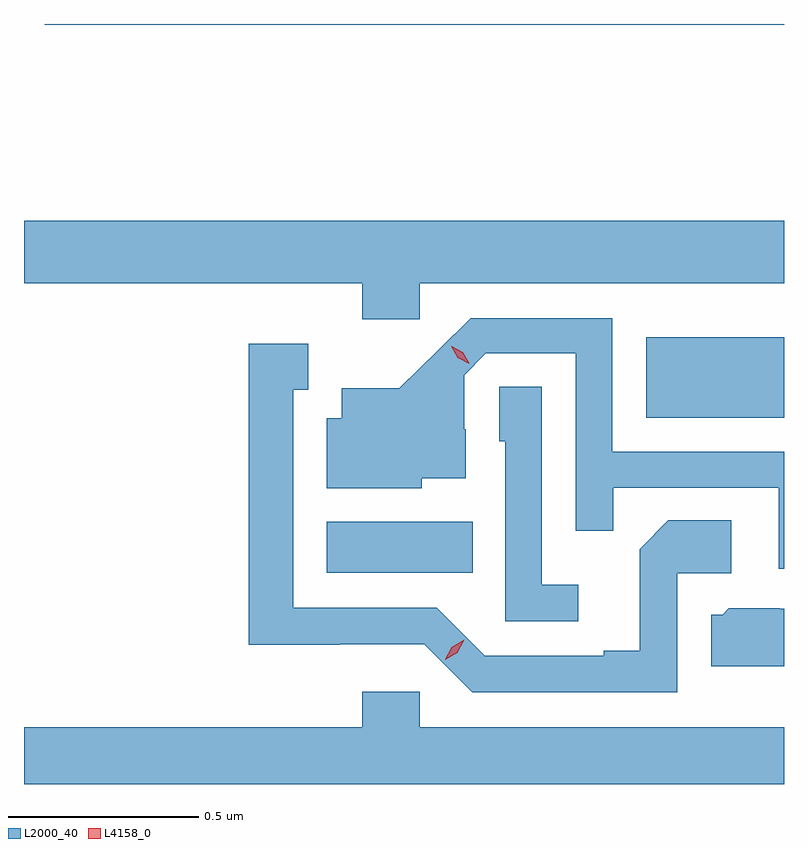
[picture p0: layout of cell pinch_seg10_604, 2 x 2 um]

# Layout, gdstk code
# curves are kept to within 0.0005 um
import gdstk
lib = gdstk.Library(unit=1e-6, precision=1e-09)
def R(c, l, rs):  # rectangles x0, y0, x1, y1
    for r in rs: c.add(gdstk.rectangle(r[:2], r[2:], *l))
def P(c, l, *ps):  # polygons
    for p in ps: c.add(gdstk.Polygon(p, *l))
L2000_40 = (2000, 40)
L4158_0 = (4158, 0)

pinch_seg10_604 = lib.new_cell('pinch_seg10_604')
R(pinch_seg10_604, L2000_40, [(333.842,1286.234,334.226,1286.368), (334.682,1286.642,335.045,1286.854), (333.1,1287.676,335.045,1287.678)])
P(pinch_seg10_604, L2000_40, [(334.086,1286.996),(335.045,1286.996),(335.045,1287.16),(333.045,1287.16),(333.045,1286.996),(333.935,1286.996),(333.935,1286.901),(334.086,1286.901)],
  [(335.045,1286.553),(334.593,1286.553),(334.593,1286.904),(334.22,1286.904),(334.033,1286.719),(333.881,1286.719),(333.881,1286.641),(333.842,1286.641),(333.842,1286.456),(334.092,1286.456),(334.092,1286.483),(334.207,1286.483),(334.207,1286.612),(334.203,1286.612),(334.203,1286.754),(334.26,1286.811),(334.497,1286.811),(334.497,1286.344),(334.595,1286.344),(334.595,1286.457),(335.031,1286.457),(335.031,1286.244),(335.045,1286.244)],
  [(334.764,1286.232),(334.906,1286.232),(334.906,1286.372),(334.741,1286.372),(334.665,1286.296),(334.665,1286.029),(334.571,1286.029),(334.571,1286.016),(334.257,1286.016),(334.131,1286.142),(333.754,1286.142),(333.754,1286.715),(333.793,1286.715),(333.793,1286.836),(333.636,1286.836),(333.636,1286.045),(333.876,1286.045),(333.876,1286.046),(334.098,1286.046),(334.224,1285.92),(334.764,1285.92)],
  [(334.504,1286.203),(334.407,1286.203),(334.407,1286.723),(334.296,1286.723),(334.296,1286.58),(334.311,1286.58),(334.311,1286.106),(334.504,1286.106)],
  [(335.045,1286.139),(335.034,1286.139),(335.034,1286.14),(334.9,1286.14),(334.884,1286.124),(334.853,1286.124),(334.853,1285.988),(335.045,1285.988)],
  [(335.045,1285.828),(334.086,1285.828),(334.086,1285.921),(333.935,1285.921),(333.935,1285.828),(333.045,1285.828),(333.045,1285.678),(335.045,1285.678)])
P(pinch_seg10_604, L4158_0, [(334.217,1286.784),(334.186,1286.8),(334.169,1286.83),(334.169,1286.83),(334.17,1286.83),(334.2,1286.814),(334.217,1286.785),(334.217,1286.784)],
  [(334.153,1286.005),(334.153,1286.006),(334.171,1286.038),(334.203,1286.057),(334.203,1286.057),(334.203,1286.057),(334.185,1286.024),(334.153,1286.005)])

lib.write_gds('pinch_seg10_604.gds')
